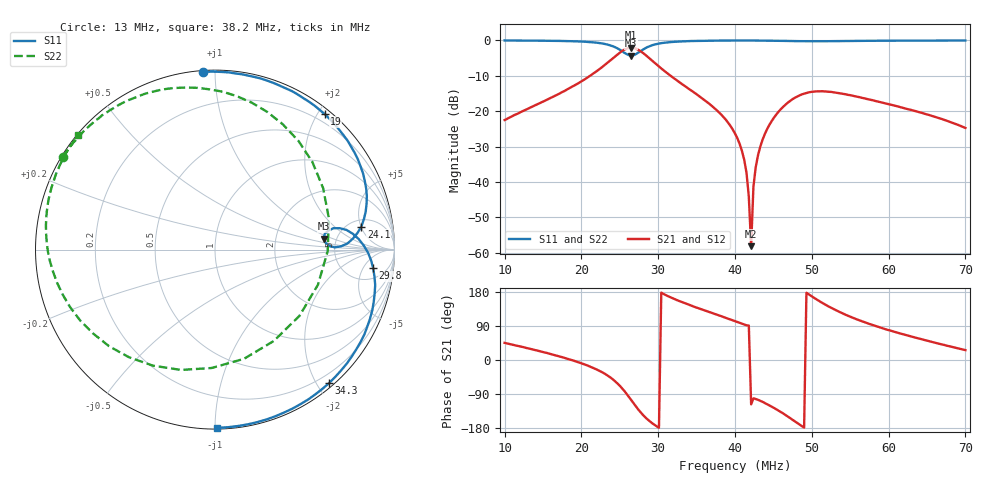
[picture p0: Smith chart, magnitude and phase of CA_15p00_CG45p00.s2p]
#  HZ  S  RI  R  50.00
! Rohde & Schwarz ZVT8 8Ports - Version 4.11 - 1300.0000k08 SN: 100242
! Date: 2026-07-31 14:16:30
! Measurements: S11 S21 S12 S22
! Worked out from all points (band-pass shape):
!   201 points, 10 MHz to 70 MHz, reference 50 ohm
!   highest |S21| = -2.08 dB at 26.5 MHz (marker M1); lowest = -58.1 dB at 42.1 MHz (marker M2)
!   |S21| within 3 dB of the highest: 24.08 MHz to 28.86 MHz (4.781 MHz wide, 18.1 % of centre)
!   lowest |S11| = -4.3 dB at 26.5 MHz (marker M3), VSWR 4.11, Z = 198 + j38.7 ohm
!   |S11| at or under -10 dB: nowhere
!   |S22| runs from -4.5 to 0.0 dB; largest |S21 - S12| = 0.0035
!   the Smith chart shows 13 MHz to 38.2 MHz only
!   S11 on the Smith chart (normalised r, x): 13 MHz: 0.01, +0.94; 19 MHz: 0.08, +2.09; 24.1 MHz: 6.31, +5.06; 29.8 MHz: 9, -8; 34.3 MHz: 0.06, -2.17; 38.2 MHz: 0.01, -1.01
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1e7  -0.4079 0.9093  0.0528 0.0531  0.0525 0.0532  -0.9163 0.3922
1.3e7  -0.0661 0.9891  0.0922 0.0556  0.0923 0.0556  -0.8473 0.5175
1.9e7  0.6101 0.7559  0.2277 -0.00683  0.2274 -0.0076  -0.5659 0.7878
2.02e7  0.7143 0.6394  0.2673 -0.0477  0.267 -0.0475  -0.4577 0.842
2.41e7  0.8151 0.1282  0.3507 -0.4354  0.3498 -0.4348  0.2901 0.7677
2.65e7  0.6059 0.0616  -0.2188 -0.756  -0.22 -0.7568  0.4706 -0.369
2.77e7  0.6954 0.1192  -0.5201 -0.4722  -0.5229 -0.4744  -0.1889 -0.6705
2.98e7  0.8811 -0.1035  -0.4528 -0.0398  -0.4537 -0.0403  -0.8486 -0.2507
3.01e7  0.8886 -0.1505  -0.4275 -0.00911  -0.4266 -0.0103  -0.8801 -0.1838
3.43e7  0.6365 -0.743  -0.1572 0.1169  -0.157 0.1163  -0.8944 0.3961
3.82e7  0.0138 -0.9928  -0.0389 0.0808  -0.0387 0.0808  -0.7615 0.6376
4e7  -0.3465 -0.9314  -0.0104 0.0472  -0.0103 0.0473  -0.6964 0.7141
4.15e7  -0.6453 -0.7575  -0.000371 0.0134  -0.000363 0.0134  -0.639 0.7656
4.21e7  -0.7537 -0.6496  -0.000563 -0.0011  -0.000586 -0.00106  -0.6169 0.7842
4.24e7  -0.8022 -0.5871  -0.00165 -0.00841  -0.00174 -0.00846  -0.6064 0.7934
4.36e7  -0.9529 -0.2775  -0.0139 -0.0373  -0.0139 -0.0373  -0.5596 0.8265
4.75e7  -0.3491 0.9141  -0.1366 -0.0562  -0.1367 -0.0567  -0.4084 0.8987
5.02e7  0.7225 0.6488  -0.1823 0.0479  -0.1821 0.0477  -0.3149 0.9274
5.23e7  0.9712 -0.0769  -0.1442 0.1204  -0.1442 0.1208  -0.2451 0.9479
5.5e7  0.6219 -0.7577  -0.0691 0.1534  -0.0688 0.1532  -0.151 0.9716
6.01e7  -0.3607 -0.9191  0.0251 0.1223  0.025 0.1219  0.0353 0.9887
7e7  -0.9642 0.2451  0.052 0.0254  0.0521 0.0252  0.4083 0.9087
